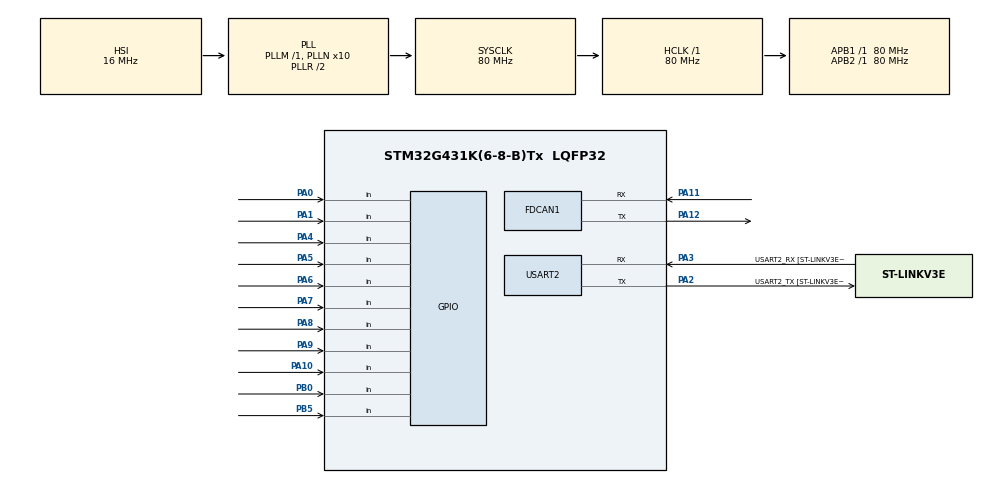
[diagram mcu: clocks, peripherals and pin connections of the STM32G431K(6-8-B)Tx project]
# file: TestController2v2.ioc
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FDCAN1.CalculateBaudRateNominal=1000000
FDCAN1.CalculateTimeBitNominal=1000
FDCAN1.CalculateTimeQuantumNominal=62.5
FDCAN1.DataPrescaler=1
FDCAN1.DataSyncJumpWidth=4
FDCAN1.DataTimeSeg1=5
FDCAN1.DataTimeSeg2=4
FDCAN1.NominalPrescaler=5
FDCAN1.NominalSyncJumpWidth=16
FDCAN1.NominalTimeSeg1=13
FDCAN1.StdFiltersNbr=1
Mcu.Family=STM32G4
Mcu.Name=STM32G431K(6-8-B)Tx
Mcu.Package=LQFP32
NVIC.FDCAN1_IT0_IRQn=true\:0\:0\:false\:false\:true\:true\:true\:true
NVIC.FDCAN1_IT1_IRQn=true\:0\:0\:false\:false\:true\:true\:true\:true
NVIC.PriorityGroup=NVIC_PRIORITYGROUP_4
PA0.GPIO_PuPd=GPIO_PULLUP
PA0.Signal=GPIO_Input
PA1.GPIO_PuPd=GPIO_PULLUP
PA1.Signal=GPIO_Input
PA10.GPIO_PuPd=GPIO_PULLUP
PA10.Signal=GPIO_Input
PA11.Mode=FDCAN_Activate
PA11.Signal=FDCAN1_RX
PA12.Mode=FDCAN_Activate
PA12.Signal=FDCAN1_TX
PA13.GPIO_Label=T_SWDIO
PA13.Mode=Serial_Wire
PA13.Signal=SYS_JTMS-SWDIO
PA14.GPIO_Label=T_SWCLK
PA14.Mode=Serial_Wire
PA14.Signal=SYS_JTCK-SWCLK
PA2.GPIO_Label=USART2_TX [ST-LINKV3E_VCP_RX]
PA2.Mode=Asynchronous
PA2.Signal=USART2_TX
PA3.GPIO_Label=USART2_RX [ST-LINKV3E_VCP_TX]
PA3.Mode=Asynchronous
PA3.Signal=USART2_RX
PA4.GPIO_PuPd=GPIO_PULLUP
PA4.Signal=GPIO_Input
PA5.GPIO_PuPd=GPIO_PULLUP
PA5.Signal=GPIO_Input
PA6.GPIO_PuPd=GPIO_PULLUP
PA6.Signal=GPIO_Input
PA7.GPIO_PuPd=GPIO_PULLUP
PA7.Signal=GPIO_Input
PA8.GPIO_PuPd=GPIO_PULLUP
PA8.Signal=GPIO_Input
PA9.GPIO_PuPd=GPIO_PULLUP
PA9.Signal=GPIO_Input
PB0.GPIO_PuPd=GPIO_PULLUP
PB0.Signal=GPIO_Input
PB5.GPIO_PuPd=GPIO_PULLUP
PB5.Signal=GPIO_Input
ProjectManager.HeapSize=0x200
ProjectManager.StackSize=0x400
ProjectManager.TargetToolchain=STM32CubeIDE
RCC.ADC12Freq_Value=80000000
RCC.AHBFreq_Value=80000000
RCC.APB1Freq_Value=80000000
RCC.APB1TimFreq_Value=80000000
RCC.APB2Freq_Value=80000000
RCC.APB2TimFreq_Value=80000000
RCC.CortexFreq_Value=80000000
RCC.EXTERNAL_CLOCK_VALUE=12288000
RCC.HCLKFreq_Value=80000000
RCC.HSE_VALUE=8000000
RCC.HSI48_VALUE=48000000
RCC.HSI_VALUE=16000000
RCC.LSE_VALUE=32768
RCC.PLLN=10
RCC.SYSCLKFreq_VALUE=80000000
RCC.SYSCLKSource=RCC_SYSCLKSOURCE_PLLCLK
RCC.USBFreq_Value=80000000
RCC.VCOOutputFreq_Value=160000000
USART2.VirtualMode-Asynchronous=VM_ASYNC
USART2.WordLength=WORDLENGTH_8B
board=NUCLEO-G431KB

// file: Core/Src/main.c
/* USER CODE BEGIN Header */
/**
  ******************************************************************************
  * @file           : main.c
  * @brief          : Main program body
  ******************************************************************************
  * @attention
  *
  * Copyright (c) 2023 STMicroelectronics.
  * All rights reserved.
  *
  * This software is licensed under terms that can be found in the LICENSE file
  * in the root directory of this software component.
  * If no LICENSE file comes with this software, it is provided AS-IS.
  *
  ******************************************************************************
  */
/* USER CODE END Header */
#include "main.h"

/* USER CODE BEGIN Includes */
#include <stdio.h>

/* USER CODE END Includes */

/* USER CODE BEGIN PM */
#define CANID_CYL_THROW 0x110

#define CANID_CYL_SET 0x114
#define CANID_CYL_TABLE 0x115
#define CANID_CYL_BLARM_1 0x116
#define CANID_CYL_BLARM_2 0x117

#define CANID_CYL_PICK 0x118
#define CANID_CYL_RELEASE 0x119
#define CANID_LED 0x11A
#define CANID_BAL_SPL_1 0x11B
#define CANID_BAL_SPL_2 0x11C
#define CANID_BAL_DSC_1 0x11D
#define CANID_BAL_DSC_2 0x11E

/* USER CODE END PM */

FDCAN_HandleTypeDef hfdcan1;

UART_HandleTypeDef huart2;

/* USER CODE BEGIN PV */
FDCAN_TxHeaderTypeDef TxHeader;
/* USER CODE END PV */

void SystemClock_Config(void);
static void MX_GPIO_Init(void);
static void MX_USART2_UART_Init(void);
static void MX_FDCAN1_Init(void);

/* USER CODE BEGIN 0 */
int _write(int file, char *ptr, int len)
{
	HAL_UART_Transmit(&huart2, (uint8_t *)ptr, len, 10);
	return len;
}

/*void HAL_GPIO_EXTI_Callback(uint16_t GPIO_Pin){
	if(GPIO_Pin == GPIO_PIN_15){
		printf("a\r\n");
	}
	else if(GPIO_Pin == GPIO_PIN_10){
		printf("b\r\n");
	}
	else if(GPIO_Pin == GPIO_PIN_9){
		printf("c\r\n");
	}
	else if(GPIO_Pin == GPIO_PIN_7){
		printf("d\r\n");
	}
	else if(GPIO_Pin == GPIO_PIN_6){
		printf("e\r\n");
	}
	else if(GPIO_Pin == GPIO_PIN_5){
		printf("f\r\n");
	}
	else if(GPIO_Pin == GPIO_PIN_4){
		printf("g\r\n");
	}
	else if(GPIO_Pin == GPIO_PIN_1){
		printf("h\r\n");
	}
	else if(GPIO_Pin == GPIO_PIN_0){
		printf("i\r\n");
	}
	else if(GPIO_Pin == GPIO_PIN_3){
		printf("j\r\n");
	}
}*/
/* USER CODE END 0 */

int main(void)
{

  /* MCU Configuration--------------------------------------------------------*/

  /* Reset of all peripherals, Initializes the Flash interface and the Systick. */
  HAL_Init();

  /* Configure the system clock */
  SystemClock_Config();

  /* Initialize all configured peripherals */
  MX_GPIO_Init();
  MX_USART2_UART_Init();
  MX_FDCAN1_Init();
  /* USER CODE BEGIN 2 */
  uint8_t TxData[1];
  uint8_t _TxData = 0;

  printf("Initialized\r\n");
  uint8_t Flag1 = 1;
  uint8_t Flag2 = 1;
  uint8_t FlagL = 0;
  uint8_t FlagR = 1;
  GPIO_PinState _inputs[11]={};
  /* USER CODE END 2 */

  /* Infinite loop */
  /* USER CODE BEGIN WHILE */
  while (1)
  {

	  GPIO_PinState inputs[11]={
			  HAL_GPIO_ReadPin(GPIOA, GPIO_PIN_0),
			  HAL_GPIO_ReadPin(GPIOA, GPIO_PIN_1),
			  HAL_GPIO_ReadPin(GPIOA, GPIO_PIN_4),
			  HAL_GPIO_ReadPin(GPIOA, GPIO_PIN_5),
			  HAL_GPIO_ReadPin(GPIOA, GPIO_PIN_6),
			  HAL_GPIO_ReadPin(GPIOA, GPIO_PIN_7),
			  HAL_GPIO_ReadPin(GPIOA, GPIO_PIN_8),
			  HAL_GPIO_ReadPin(GPIOA, GPIO_PIN_9),
			  HAL_GPIO_ReadPin(GPIOA, GPIO_PIN_10),
			  HAL_GPIO_ReadPin(GPIOB, GPIO_PIN_0),
			  HAL_GPIO_ReadPin(GPIOB, GPIO_PIN_5)

	  };

	  for(uint8_t i=0; i<11; i++){
		  if(inputs[i] != _inputs[i]){
			  switch(i){
			  case 0:
				  if(inputs[i]==GPIO_PIN_RESET){
					  TxHeader.Identifier = CANID_CYL_SET;
					  TxData[0] = 7;
					  if (HAL_FDCAN_AddMessageToTxFifoQ(&hfdcan1, &TxHeader, TxData) != HAL_OK) {

							Error_Handler();
					  }
				  }
				  printf("Set\r\n");

				  break;

			  case 1:
				  if(inputs[i]==GPIO_PIN_RESET){
					  TxHeader.Identifier = CANID_BAL_SPL_1;
					  TxData[0] = 7;
					  printf("BAL1 supply\r\n");
					  if (HAL_FDCAN_AddMessageToTxFifoQ(&hfdcan1, &TxHeader, TxData) != HAL_OK) {

							Error_Handler();
					  }
				  }
				  else if(inputs[i] == GPIO_PIN_SET) {
					  TxHeader.Identifier = CANID_BAL_SPL_1;
					  TxData[0] = 6;
					  printf("BAL1 Stop\r\n");
					  if (HAL_FDCAN_AddMessageToTxFifoQ(&hfdcan1, &TxHeader, TxData) != HAL_OK) {

							Error_Handler();
					  }
				  }

				  break;

			  case 2:
				  if(inputs[i]==GPIO_PIN_RESET){
					  TxHeader.Identifier = CANID_BAL_SPL_2;
					  TxData[0] = 7;
					  printf("BAL2 Supply\r\n");
					  if (HAL_FDCAN_AddMessageToTxFifoQ(&hfdcan1, &TxHeader, TxData) != HAL_OK) {

							Error_Handler();
					  }
				  }
				  else if(inputs[i] == GPIO_PIN_SET) {
					  TxHeader.Identifier = CANID_BAL_SPL_2;
					  printf("BAL2 Stop\r\n");
					  TxData[0] = 6;
					  if (HAL_FDCAN_AddMessageToTxFifoQ(&hfdcan1, &TxHeader, TxData) != HAL_OK) {

							Error_Handler();
					  }
				  }
				  break;

			  case 3:
				  if(inputs[i]==GPIO_PIN_RESET){
					  TxHeader.Identifier = CANID_CYL_PICK;
					  TxData[0] = 3;

					  printf("Pick\r\n");
					  if (HAL_FDCAN_AddMessageToTxFifoQ(&hfdcan1, &TxHeader, TxData) != HAL_OK) {

							Error_Handler();
					  }
				  }
				  break;

			  case 4:
				  if(inputs[i]==GPIO_PIN_RESET){
					  TxHeader.Identifier = CANID_LED;

					  if(FlagL==0)FlagL=1;
					  else if(FlagL==1)FlagL=0;

					  TxData[0] = FlagL;
					  printf("LED\r\n");
					  if (HAL_FDCAN_AddMessageToTxFifoQ(&hfdcan1, &TxHeader, TxData) != HAL_OK) {

							Error_Handler();
					  }
				  }
				  break;

			  case 5:
				  if(inputs[i]==GPIO_PIN_RESET){
					  TxHeader.Identifier = CANID_CYL_RELEASE;

					  if(FlagR==1)FlagR=2;
					  else if(FlagR==2)FlagR=1;

					  TxData[0] = FlagR;
					  printf("Release%d\r\n", FlagR);
					  if (HAL_FDCAN_AddMessageToTxFifoQ(&hfdcan1, &TxHeader, TxData) != HAL_OK) {

							Error_Handler();
					  }
				  }
				  break;

			  case 6:
				  if(inputs[i]==GPIO_PIN_RESET){
					  TxHeader.Identifier = CANID_BAL_DSC_2;
					  TxData[0] = 7;

					  printf("BAL2 Discharge\r\n");
					  if (HAL_FDCAN_AddMessageToTxFifoQ(&hfdcan1, &TxHeader, TxData) != HAL_OK) {

							Error_Handler();
					  }
				  }
				  else if(inputs[i] == GPIO_PIN_SET) {
					  TxHeader.Identifier = CANID_BAL_DSC_2;
					  TxData[0] = 6;

					  printf("BAL2 Stop\r\n");
					  if (HAL_FDCAN_AddMessageToTxFifoQ(&hfdcan1, &TxHeader, TxData) != HAL_OK) {

							Error_Handler();
					  }
				  }
				  break;

			  case 7:
				  if(inputs[i]==GPIO_PIN_RESET){
					  TxHeader.Identifier = CANID_CYL_THROW;
					  TxData[0] = 3;
					  printf("Throw\r\n");
					  if (HAL_FDCAN_AddMessageToTxFifoQ(&hfdcan1, &TxHeader, TxData) != HAL_OK) {

							Error_Handler();
					  }
				  }
				  break;

			  case 8:
				  if(inputs[i]==GPIO_PIN_RESET){
					  TxHeader.Identifier = CANID_CYL_BLARM_2;
					  if(Flag2 == 1)Flag2=6;
					  else Flag2=1;

					  TxData[0] = Flag2;

					  printf("Arm2-%d\r\n",Flag2);
					  if (HAL_FDCAN_AddMessageToTxFifoQ(&hfdcan1, &TxHeader, TxData) != HAL_OK) {

							Error_Handler();
					  }

				  }

				  break;

			  case 9:
				  if(inputs[i]==GPIO_PIN_RESET){
					  TxHeader.Identifier = CANID_BAL_DSC_1;
					  TxData[0] = 7;

					  printf("BAL1 Discharge\r\n");
					  if (HAL_FDCAN_AddMessageToTxFifoQ(&hfdcan1, &TxHeader, TxData) != HAL_OK) {

							Error_Handler();
					  }
				  }
				  else if(inputs[i] == GPIO_PIN_SET) {
					  printf("BAL1 Stop\r\n");
					  TxHeader.Identifier = CANID_BAL_DSC_1;
					  TxData[0] = 6;
					  if (HAL_FDCAN_AddMessageToTxFifoQ(&hfdcan1, &TxHeader, TxData) != HAL_OK) {

							Error_Handler();
					  }
				  }
				  break;

			  case 10:

				  if(inputs[i]==GPIO_PIN_RESET){
					  TxHeader.Identifier = CANID_CYL_BLARM_1;
					  if(Flag1 == 1)Flag1=6;
					  else Flag1=1;
					  printf("arm1-%d\r\n",Flag1);

					  TxData[0] = Flag1;
					  if (HAL_FDCAN_AddMessageToTxFifoQ(&hfdcan1, &TxHeader, TxData) != HAL_OK) {

							Error_Handler();
					  }

				  }
				  break;
			  }
		  }
		  _inputs[i] = inputs[i];
	  }
	  /*
	   if(HAL_GPIO_ReadPin(GPIOA, GPIO_PIN_0)==GPIO_PIN_RESET){
		  TxData[0] = 1;
		  printf("Move A\r\n");
	  }
	  if(HAL_GPIO_ReadPin(GPIOA, GPIO_PIN_1)==GPIO_PIN_RESET){
		  TxData[0] = 2;
		  printf("Move B\r\n");
	  }
	  if(HAL_GPIO_ReadPin(GPIOA, GPIO_PIN_4)==GPIO_PIN_RESET){
		  TxData[0] = 3;
		  printf("Throw\r\n");
	  }
	  if(HAL_GPIO_ReadPin(GPIOA, GPIO_PIN_5)==GPIO_PIN_RESET){
		  TxData[0] = 3;
		  printf("C\r\n");
	  }
	  if(HAL_GPIO_ReadPin(GPIOA, GPIO_PIN_6)==GPIO_PIN_RESET){
		  printf("D\r\n");
	  }
	  if(HAL_GPIO_ReadPin(GPIOA, GPIO_PIN_7)==GPIO_PIN_RESET){
		  printf("E\r\n");
	  }
	  if(HAL_GPIO_ReadPin(GPIOA, GPIO_PIN_9)==GPIO_PIN_RESET){
	  		  printf("F\r\n");
	  	  }
	  if(HAL_GPIO_ReadPin(GPIOA, GPIO_PIN_10)==GPIO_PIN_RESET){
	  		  printf("G\r\n");
	  	  }
	  if(HAL_GPIO_ReadPin(GPIOA, GPIO_PIN_8)==GPIO_PIN_RESET){
	  		  printf("H\r\n");
	  	  }
	  if(HAL_GPIO_ReadPin(GPIOB, GPIO_PIN_5)==GPIO_PIN_RESET){
	  		  printf("I\r\n");
	  	  }
	  if(HAL_GPIO_ReadPin(GPIOB, GPIO_PIN_0)==GPIO_PIN_RESET){
	  		  printf("J\r\n");
	  	  }*/

	  /*if(_TxData != TxData[0]){
		  printf("Send");
		  if (HAL_FDCAN_AddMessageToTxFifoQ(&hfdcan1, &TxHeader, TxData) != HAL_OK) {

	  			Error_Handler();
	  		}
	  }*/

	  HAL_Delay(100);

    /* USER CODE END WHILE */

  }
}

void SystemClock_Config(void)
{
  RCC_OscInitTypeDef RCC_OscInitStruct = {0};
  RCC_ClkInitTypeDef RCC_ClkInitStruct = {0};

  /** Configure the main internal regulator output voltage
  */
  HAL_PWREx_ControlVoltageScaling(PWR_REGULATOR_VOLTAGE_SCALE1);

  /** Initializes the RCC Oscillators according to the specified parameters
  * in the RCC_OscInitTypeDef structure.
  */
  RCC_OscInitStruct.OscillatorType = RCC_OSCILLATORTYPE_HSI;
  RCC_OscInitStruct.HSIState = RCC_HSI_ON;
  RCC_OscInitStruct.HSICalibrationValue = RCC_HSICALIBRATION_DEFAULT;
  RCC_OscInitStruct.PLL.PLLState = RCC_PLL_ON;
  RCC_OscInitStruct.PLL.PLLSource = RCC_PLLSOURCE_HSI;
  RCC_OscInitStruct.PLL.PLLM = RCC_PLLM_DIV1;
  RCC_OscInitStruct.PLL.PLLN = 10;
  RCC_OscInitStruct.PLL.PLLP = RCC_PLLP_DIV2;
  RCC_OscInitStruct.PLL.PLLQ = RCC_PLLQ_DIV2;
  RCC_OscInitStruct.PLL.PLLR = RCC_PLLR_DIV2;
  if (HAL_RCC_OscConfig(&RCC_OscInitStruct) != HAL_OK)
  {
    Error_Handler();
  }

  /** Initializes the CPU, AHB and APB buses clocks
  */
  RCC_ClkInitStruct.ClockType = RCC_CLOCKTYPE_HCLK|RCC_CLOCKTYPE_SYSCLK
                              |RCC_CLOCKTYPE_PCLK1|RCC_CLOCKTYPE_PCLK2;
  RCC_ClkInitStruct.SYSCLKSource = RCC_SYSCLKSOURCE_PLLCLK;
  RCC_ClkInitStruct.AHBCLKDivider = RCC_SYSCLK_DIV1;
  RCC_ClkInitStruct.APB1CLKDivider = RCC_HCLK_DIV1;
  RCC_ClkInitStruct.APB2CLKDivider = RCC_HCLK_DIV1;

  if (HAL_RCC_ClockConfig(&RCC_ClkInitStruct, FLASH_LATENCY_2) != HAL_OK)
  {
    Error_Handler();
  }
}

static void MX_FDCAN1_Init(void)
{

  hfdcan1.Instance = FDCAN1;
  hfdcan1.Init.ClockDivider = FDCAN_CLOCK_DIV1;
  hfdcan1.Init.FrameFormat = FDCAN_FRAME_CLASSIC;
  hfdcan1.Init.Mode = FDCAN_MODE_NORMAL;
  hfdcan1.Init.AutoRetransmission = DISABLE;
  hfdcan1.Init.TransmitPause = DISABLE;
  hfdcan1.Init.ProtocolException = DISABLE;
  hfdcan1.Init.NominalPrescaler = 5;
  hfdcan1.Init.NominalSyncJumpWidth = 16;
  hfdcan1.Init.NominalTimeSeg1 = 13;
  hfdcan1.Init.NominalTimeSeg2 = 2;
  hfdcan1.Init.DataPrescaler = 1;
  hfdcan1.Init.DataSyncJumpWidth = 4;
  hfdcan1.Init.DataTimeSeg1 = 5;
  hfdcan1.Init.DataTimeSeg2 = 4;
  hfdcan1.Init.StdFiltersNbr = 1;
  hfdcan1.Init.ExtFiltersNbr = 0;
  hfdcan1.Init.TxFifoQueueMode = FDCAN_TX_FIFO_OPERATION;
  if (HAL_FDCAN_Init(&hfdcan1) != HAL_OK)
  {
    Error_Handler();
  }
  /* USER CODE BEGIN FDCAN1_Init 2 */

  TxHeader.IdType = FDCAN_STANDARD_ID;
  	TxHeader.TxFrameType = FDCAN_DATA_FRAME;
  	TxHeader.DataLength = FDCAN_DLC_BYTES_1;
  	TxHeader.ErrorStateIndicator = FDCAN_ESI_ACTIVE;
  	TxHeader.BitRateSwitch = FDCAN_BRS_OFF;
  	TxHeader.FDFormat = FDCAN_CLASSIC_CAN;
  	TxHeader.TxEventFifoControl = FDCAN_NO_TX_EVENTS;
  	TxHeader.MessageMarker = 0;
  	TxHeader.Identifier = 0x210;
  	FDCAN_FilterTypeDef sFilterConfig;
  		sFilterConfig.IdType = FDCAN_STANDARD_ID;
  		sFilterConfig.FilterIndex = 0;
  		sFilterConfig.FilterType = FDCAN_FILTER_MASK;
  		sFilterConfig.FilterConfig = FDCAN_FILTER_TO_RXFIFO0;
  		sFilterConfig.FilterID1 = 0x000;
  		sFilterConfig.FilterID2 = 0x000;

  		if (HAL_FDCAN_ConfigFilter(&hfdcan1, &sFilterConfig) != HAL_OK) {
  			Error_Handler();
  		}
  		if (HAL_FDCAN_ConfigGlobalFilter(&hfdcan1, FDCAN_REJECT, FDCAN_REJECT, FDCAN_FILTER_REMOTE, FDCAN_FILTER_REMOTE) != HAL_OK) {
  			Error_Handler();
  		}

  		if (HAL_FDCAN_Start(&hfdcan1) != HAL_OK) {
  			Error_Handler();
  		}
  		if (HAL_FDCAN_ActivateNotification(&hfdcan1, FDCAN_IT_RX_FIFO0_NEW_MESSAGE, 0) != HAL_OK) {
  		  Error_Handler();
  		}

  /* USER CODE END FDCAN1_Init 2 */

}

static void MX_USART2_UART_Init(void)
{

  huart2.Instance = USART2;
  huart2.Init.BaudRate = 115200;
  huart2.Init.WordLength = UART_WORDLENGTH_8B;
  huart2.Init.StopBits = UART_STOPBITS_1;
  huart2.Init.Parity = UART_PARITY_NONE;
  huart2.Init.Mode = UART_MODE_TX_RX;
  huart2.Init.HwFlowCtl = UART_HWCONTROL_NONE;
  huart2.Init.OverSampling = UART_OVERSAMPLING_16;
  huart2.Init.OneBitSampling = UART_ONE_BIT_SAMPLE_DISABLE;
  huart2.Init.ClockPrescaler = UART_PRESCALER_DIV1;
  huart2.AdvancedInit.AdvFeatureInit = UART_ADVFEATURE_NO_INIT;
  if (HAL_UART_Init(&huart2) != HAL_OK)
  {
    Error_Handler();
  }
  if (HAL_UARTEx_SetTxFifoThreshold(&huart2, UART_TXFIFO_THRESHOLD_1_8) != HAL_OK)
  {
    Error_Handler();
  }
  if (HAL_UARTEx_SetRxFifoThreshold(&huart2, UART_RXFIFO_THRESHOLD_1_8) != HAL_OK)
  {
    Error_Handler();
  }
  if (HAL_UARTEx_DisableFifoMode(&huart2) != HAL_OK)
  {
    Error_Handler();
  }
  /* USER CODE BEGIN USART2_Init 2 */
  setbuf(stdout, NULL);

  /* USER CODE END USART2_Init 2 */

}

static void MX_GPIO_Init(void)
{
  GPIO_InitTypeDef GPIO_InitStruct = {0};

  /* GPIO Ports Clock Enable */
  __HAL_RCC_GPIOA_CLK_ENABLE();
  __HAL_RCC_GPIOB_CLK_ENABLE();

  /*Configure GPIO pins : PA0 PA1 PA4 PA5
                           PA6 PA7 PA8 PA9
                           PA10 */
  GPIO_InitStruct.Pin = GPIO_PIN_0|GPIO_PIN_1|GPIO_PIN_4|GPIO_PIN_5
                          |GPIO_PIN_6|GPIO_PIN_7|GPIO_PIN_8|GPIO_PIN_9
                          |GPIO_PIN_10;
  GPIO_InitStruct.Mode = GPIO_MODE_INPUT;
  GPIO_InitStruct.Pull = GPIO_PULLUP;
  HAL_GPIO_Init(GPIOA, &GPIO_InitStruct);

  /*Configure GPIO pins : PB0 PB5 */
  GPIO_InitStruct.Pin = GPIO_PIN_0|GPIO_PIN_5;
  GPIO_InitStruct.Mode = GPIO_MODE_INPUT;
  GPIO_InitStruct.Pull = GPIO_PULLUP;
  HAL_GPIO_Init(GPIOB, &GPIO_InitStruct);

}

/* USER CODE BEGIN 4 */
void HAL_FDCAN_RxFifo0Callback(FDCAN_HandleTypeDef *hfdcan, uint32_t RxFifo0ITs){
	uint16_t PBattVol, CBattVol, AirPress;
	uint8_t RxData[8];
	if(hfdcan==&hfdcan1){
		//printf("get message!!\r\n");
		uint8_t RxData[8]={};
		FDCAN_RxHeaderTypeDef RxHeader;
		if (HAL_FDCAN_GetRxMessage(hfdcan, FDCAN_RX_FIFO0, &RxHeader, RxData) != HAL_OK) {
			Error_Handler();
		}
		if(RxHeader.Identifier == 0x700){
			PBattVol = RxData[0]<<8 | RxData[1];
			CBattVol = RxData[2]<<8 | RxData[3];
			AirPress = RxData[4]<<8 | RxData[5];
			//printf("Power Battery Vol: %d\r\n", PBattVol);
			//printf("Controller Battery Vol: %d\r\n", CBattVol);
			//printf("Air Pressure: %d\r\n", AirPress);

		}
	}
}

/* USER CODE END 4 */

void Error_Handler(void)
{
  __disable_irq();
  while (1)
  {
  }
}
